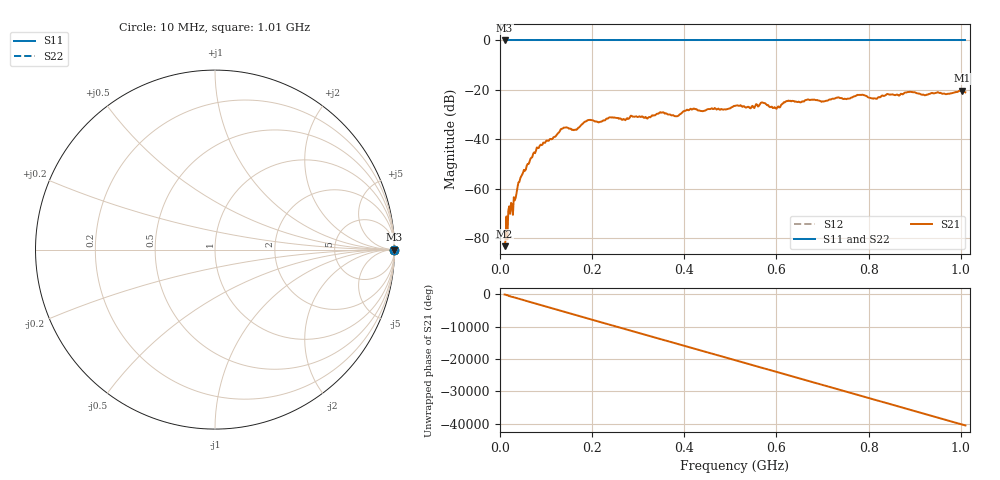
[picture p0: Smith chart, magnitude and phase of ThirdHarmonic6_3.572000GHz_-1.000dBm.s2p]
! 8/17/2025 11:50:31 AM
! C:\ANRITSUVNA\TEMP\TEMP.S2P
! CHANNEL.1
! TR.MEASUREMENT
! RAW.DATA
! RF.CORRECTION.OFF
! AVERAGING.OFF
! IF.BANDWIDTH: 5KHZ
! SWEEPTYPE:  FREQ.SWEEP(Linear)
! Reference Plane Port Info
! PORT:  PORT1  PORT2
! DISTANCE:  0  m  0  m
! TIME:  0  s  0  s
! PHASE.OFFSET:  0  deg.  0  deg.
! LOSS:  0  dB  0  dB
! REF.LOSS:  0  dB  0  dB
! REF.FREQ:  0  Hz  0  Hz
! Power Info
! POWER:  -20  dBm  -20  dBm
! EFF.POWER:  -20  dBm  -20  dBm
! SOURCE.ATTEN:  0  dB  0  dB
! TEST.ATTEN:  0  dB  0  dB
# GHZ S RI R 50.0
! FREQ.GHZ  S11RE  S11IM  S21RE  S21IM  S12RE  S12IM  S22RE  S22IM
!; PortSelection: Port_12
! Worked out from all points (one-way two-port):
!   501 points, 10 MHz to 1.01 GHz, reference 50 ohm
!   highest |S21| = -20.24 dB at 1.002 GHz (marker M1); lowest = -83.2 dB at 10 MHz (marker M2)
!   lowest |S11| = 0.0 dB at 10 MHz (marker M3)
!   |S11| at or under -10 dB: nowhere
!   |S22| runs from 0.0 to 0.0 dB; largest |S21 - S12| = 1.1
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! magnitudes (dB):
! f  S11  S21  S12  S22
! 10 MHz  0.0  -83.2  0.0  0.0
! 12 MHz  0.0  -80.8  0.0  0.0
! 22 MHz  0.0  -70.1  0.0  0.0
! 32 MHz  0.0  -64.6  0.0  0.0
! 44 MHz  0.0  -55.7  0.0  0.0
! 76 MHz  0.0  -45.6  0.0  0.0
! 136 MHz  0.0  -35.6  0.0  0.0
! 164 MHz  0.0  -36.1  0.0  0.0
! 178 MHz  0.0  -33.9  0.0  0.0
! 344 MHz  0.0  -29.6  0.0  0.0
! 382 MHz  0.0  -30.6  0.0  0.0
! 416 MHz  0.0  -27.9  0.0  0.0
! 510 MHz  0.0  -26.5  0.0  0.0
! 548 MHz  0.0  -26.4  0.0  0.0
! 570 MHz  0.0  -25.1  0.0  0.0
! 596 MHz  0.0  -27.0  0.0  0.0
! 624 MHz  0.0  -24.5  0.0  0.0
! 678 MHz  0.0  -23.9  0.0  0.0
! 814 MHz  0.0  -23.4  0.0  0.0
! 844 MHz  0.0  -21.8  0.0  0.0
! 1.002 GHz  0.0  -20.2  0.0  0.0
! 1.01 GHz  0.0  -21.0  0.0  0.0
